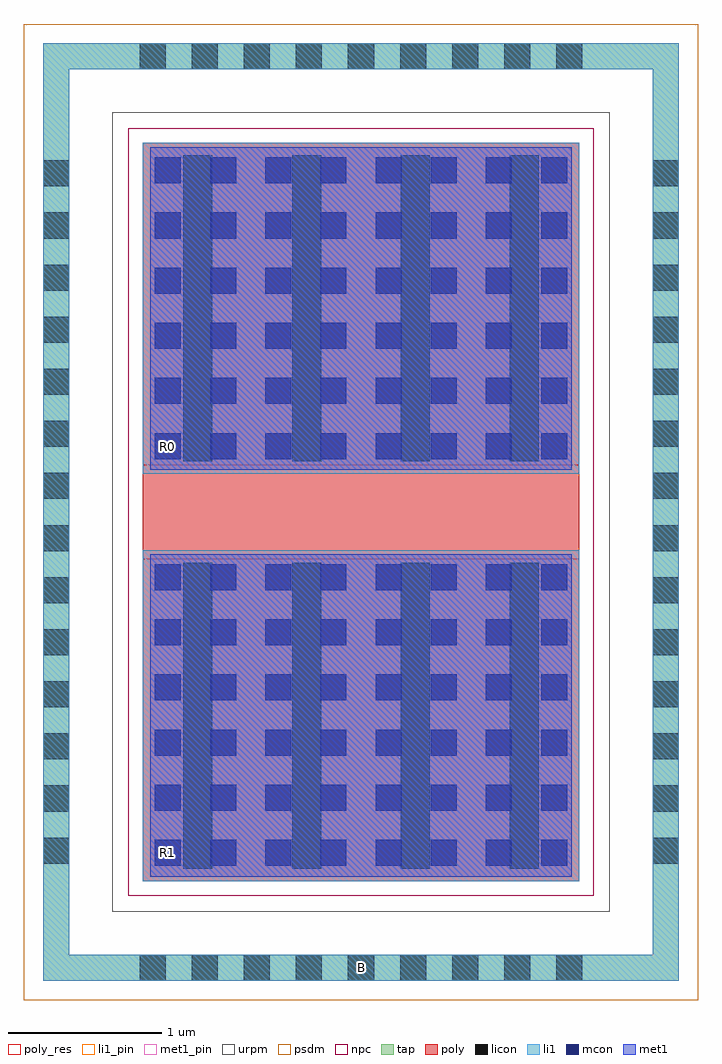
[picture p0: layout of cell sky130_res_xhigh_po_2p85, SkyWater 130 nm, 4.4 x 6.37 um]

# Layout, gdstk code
import gdstk
lib = gdstk.Library(unit=1e-6, precision=1e-09)
def R(c, l, rs):  # rectangles x0, y0, x1, y1
    for r in rs: c.add(gdstk.rectangle(r[:2], r[2:], *l))
def A(c, l, x, y, w, h, nx, ny, dx, dy):  # array of equal rectangles
    R(c, l, [(x+i*dx, y+j*dy, x+i*dx+w, y+j*dy+h) for i in range(nx) for j in range(ny)])
tap = (65, 44)
poly_res = (66, 13)
poly = (66, 20)
licon = (66, 44)
li1_pin = (67, 16)
li1 = (67, 20)
mcon = (67, 44)
met1_pin = (68, 16)
met1 = (68, 20)
urpm = (79, 20)
psdm = (94, 20)
npc = (95, 20)

res_poly = lib.new_cell('res_poly')
R(res_poly, tap, [(-2.075,-3.06,2.075,-2.89), (-2.075,-2.89,-1.905,2.89), (1.905,-2.89,2.075,2.89), (-2.075,2.89,2.075,3.06)])
R(res_poly, poly_res, [(-1.425,-0.31,1.425,0.31)])
R(res_poly, poly, [(-1.425,-2.41,1.425,2.41)])
A(res_poly, licon, -1.445, -3.06, 0.17, 0.17, 9, 2, 0.34, 5.95)
A(res_poly, licon, -1.16, -2.33, 0.19, 2, 4, 2, 0.71, 2.66)
A(res_poly, licon, -2.075, -2.295, 0.17, 0.17, 1, 14, 0, 0.34)
A(res_poly, licon, 1.905, -2.295, 0.17, 0.17, 1, 14, 0, 0.34)
R(res_poly, li1, [(-2.075,-3.06,2.075,-2.89), (-2.075,-2.89,-1.905,2.89), (1.905,-2.89,2.075,2.89), (-1.425,-2.41,1.425,-0.25), (-1.425,0.25,1.425,2.41), (-2.075,2.89,2.075,3.06)])
A(res_poly, mcon, -1.345, -2.31, 0.17, 0.17, 8, 6, 0.36, 0.36)
A(res_poly, mcon, -1.345, 0.345, 0.17, 0.17, 8, 6, 0.36, 0.36)
R(res_poly, met1, [(-1.375,-2.38,1.375,-0.275), (-1.375,0.275,1.375,2.38)])
R(res_poly, urpm, [(-1.625,-2.61,1.625,2.61)])
R(res_poly, psdm, [(-2.2,-3.185,2.2,3.185)])
R(res_poly, npc, [(-1.52,-2.505,1.52,2.505)])

sky130_res_xhigh_po_2p85 = lib.new_cell('sky130_res_xhigh_po_2p85')
R(sky130_res_xhigh_po_2p85, li1_pin, [(-0.085,-3.06,0.085,-2.89)])
R(sky130_res_xhigh_po_2p85, met1_pin, [(-1.345,-2.31,-1.175,-2.14), (-1.345,0.345,-1.175,0.515)])
sky130_res_xhigh_po_2p85.add(gdstk.Reference(res_poly, (0,0)))
sky130_res_xhigh_po_2p85.add(gdstk.Label('R0', (-1.26,0.43), layer=68, texttype=5))
sky130_res_xhigh_po_2p85.add(gdstk.Label('R1', (-1.26,-2.225), layer=68, texttype=5))
sky130_res_xhigh_po_2p85.add(gdstk.Label('B', (0,-2.975), layer=67, texttype=5))

lib.write_gds('sky130_res_xhigh_po_2p85.gds')
